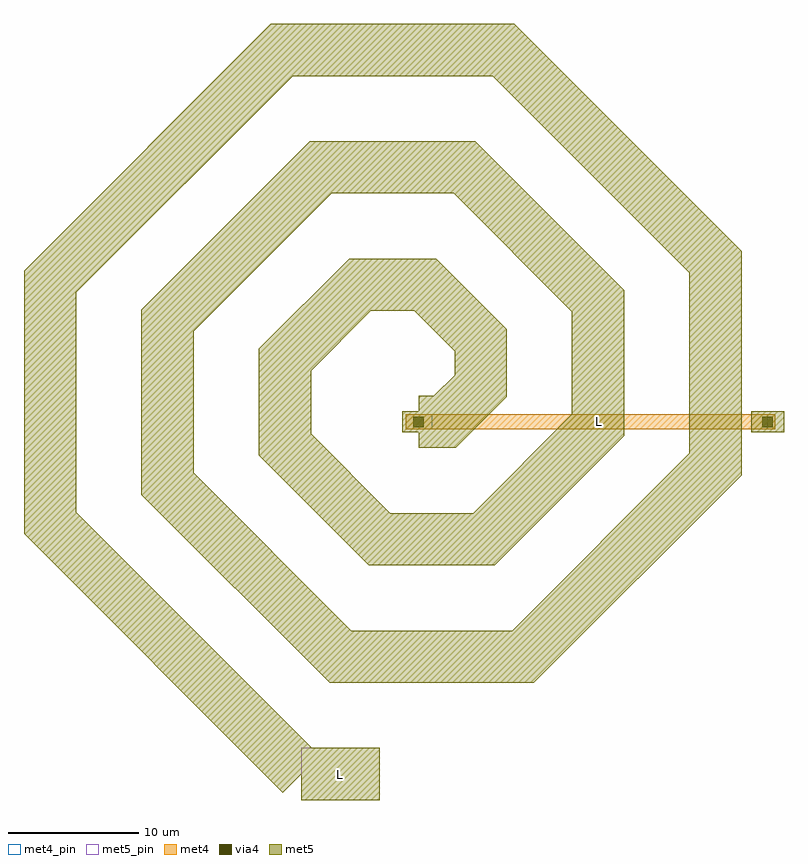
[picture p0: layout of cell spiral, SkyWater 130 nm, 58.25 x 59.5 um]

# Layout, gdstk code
import gdstk
lib = gdstk.Library(unit=1e-6, precision=1e-09)
def R(c, l, rs):  # rectangles x0, y0, x1, y1
    for r in rs: c.add(gdstk.rectangle(r[:2], r[2:], *l))
def P(c, l, *ps):  # polygons
    for p in ps: c.add(gdstk.Polygon(p, *l))
met4_pin = (71, 16)
met4 = (71, 20)
via4 = (71, 44)
met5_pin = (72, 16)
met5 = (72, 20)

spiral = lib.new_cell('spiral')
R(spiral, met4_pin, [(1,-0.59,26.75,0.59)])
R(spiral, met4, [(-1,-0.59,1,0.59), (-0.59,-0.59,0.59,0.59), (1,-0.59,26.75,0.59), (26.16,-0.59,27.34,0.59)])
R(spiral, via4, [(-0.4,-0.4,0.4,0.4), (26.35,-0.4,27.15,0.4)])
R(spiral, met5_pin, [(-9,-29,-3,-25)])
R(spiral, met5, [(-9,-29,-3,-25), (-1.25,-0.8,1.25,0.8), (25.5,-0.8,28,0.8)])
P(spiral, met5, [(-10.415,-28.415),(-30.25,-8.58),(-30.25,11.58),(-11.33,30.5),(7.33,30.5),(24.75,13.08),(24.75,-4.08),(8.83,-20),(-6.83,-20),(-21.25,-5.58),(-21.25,8.58),(-8.33,21.5),(4.33,21.5),(15.75,10.08),(15.75,-1.08),(5.83,-11),(-3.83,-11),(-12.25,-2.58),(-12.25,5.58),(-5.33,12.5),(1.33,12.5),(6.75,7.08),(6.75,1.92),(2.83,-2),(0,-2),(0,2),(1.17,2),(2.75,3.58),(2.75,5.42),(-0.33,8.5),(-3.67,8.5),(-8.25,3.92),(-8.25,-0.92),(-2.17,-7),(4.17,-7),(11.75,0.58),(11.75,8.42),(2.67,17.5),(-6.67,17.5),(-17.25,6.92),(-17.25,-3.92),(-5.17,-16),(7.17,-16),(20.75,-2.42),(20.75,11.42),(5.67,26.5),(-9.67,26.5),(-26.25,9.92),(-26.25,-6.92),(-7.585,-25.585)])
spiral.add(gdstk.Label('L', (-6,-27), layer=72, texttype=16))
spiral.add(gdstk.Label('L', (-6,-27), layer=72, texttype=5))
spiral.add(gdstk.Label('L', (13.875,0), layer=71, texttype=16))
spiral.add(gdstk.Label('L', (13.875,0), layer=71, texttype=5))

lib.write_gds('spiral.gds')
